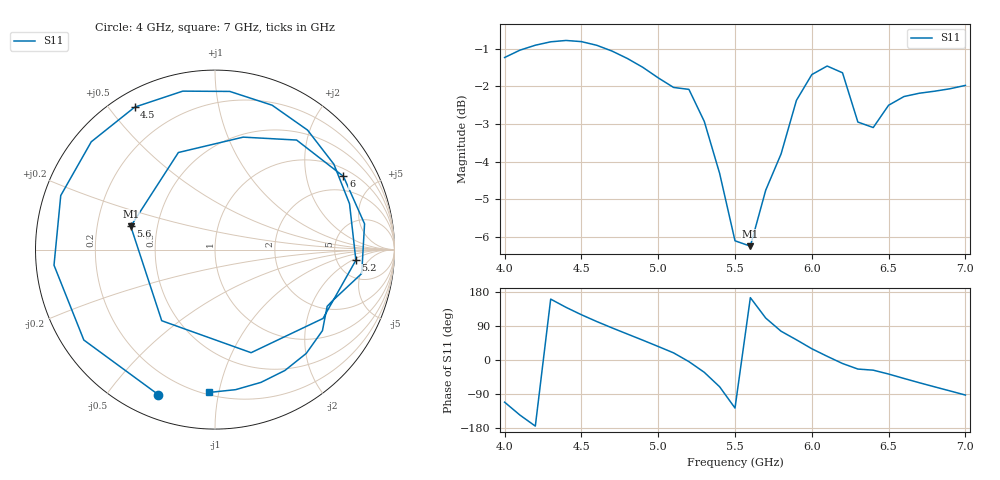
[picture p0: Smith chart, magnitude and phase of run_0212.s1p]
! Touchstone file exported from HFSS 2024.2.0
!  File:  C:/Users/wsak9/Desktop/Sim Fast/Widenad Patch/WP_AI_V1_sweep.aedt
!  Generated:  11:49:14 PM Oct 13, 2026
!  Design:  A1_model
!  Project:  WP_AI_V1_sweep
!  Setup:  Setup1
!  Solution:  Sweep
! Variables:
!  Air_gap = 2.44mm
!  Curve_Amp1 = 3.61
!  Curve_len1 = 1
!  Curve_pos = 9.79mm
!  Extra = 7.08mm
!  H_sub = 0.79mm
!  L_Patch = 15.58mm
!  L_Patch1 = 18.98mm
!  Sx = 2.16mm
!  Sy = 3.38mm
!  WS = 1.01mm
!  W_Patch = 18.19mm
!  W_Patch1 = 11.9mm
!Data is not renormalized
# GHz S MA
! Terminal data exported
! Port[1] = 1
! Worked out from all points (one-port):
!   31 points, 4 GHz to 7 GHz, reference per port
!   lowest |S11| = -6.2 dB at 5.6 GHz (marker M1), VSWR 2.90
!   |S11| at or under -10 dB: nowhere
!   S11 on the Smith chart (normalised r, x): 4 GHz: 0.10, -0.68; 4.5 GHz: 0.06, +0.58; 5.2 GHz: 7.65, -2.38; 5.6 GHz: 0.35, +0.12; 6 GHz: 1.30, +3.30; 7 GHz: 0.21, -0.93
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4  0.8679 -111.3
4.1  0.8877 -145.4
4.2  0.9012 -174.5
4.3  0.9106 160.7
4.4  0.9144 138.9
4.5  0.9112 119.4
4.6  0.901 101.5
4.7  0.8851 84.7
4.8  0.8651 68.4
4.9  0.8421 52.2
5  0.8155 35.7
5.1  0.7919 18.8
5.2  0.7872 -4.3
5.3  0.7136 -32.5
5.4  0.6086 -70.7
5.5  0.4951 -126.8
5.6  0.487 164.5
5.7  0.5781 110.7
5.8  0.646 75.9
5.9  0.7612 53.3
6  0.8237 29.7
6.1  0.8455 9.8
6.2  0.8282 -9.3
6.3  0.7122 -23.9
6.4  0.7004 -26.9
6.5  0.7498 -37.0
6.7  0.778 -60.0
7  0.7969 -92.5
